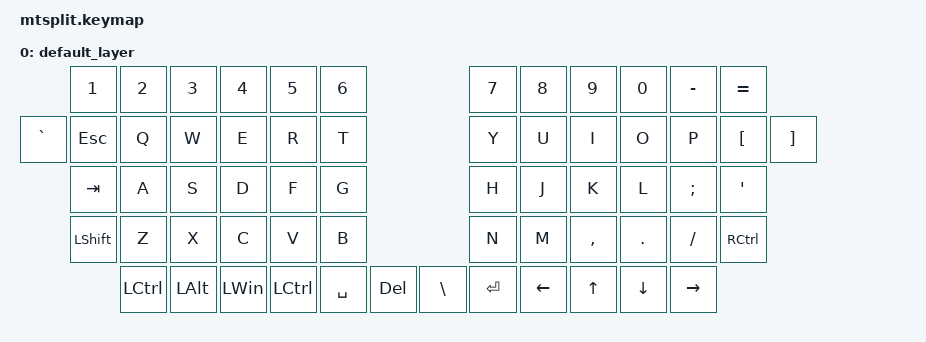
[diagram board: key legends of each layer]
#include <behaviors.dtsi>
#include <dt-bindings/zmk/keys.h>

/ {
    keymap {
        compatible = "zmk,keymap";

        default_layer {
            bindings = <
            &kp N1     &kp N2       &kp N3      &kp N4      &kp N5      &kp N6                              &kp N7      &kp N8      &kp N9      &kp N0    &kp MINUS   &kp EQUAL
&kp GRAVE   &kp ESC    &kp Q        &kp W       &kp E       &kp R       &kp T                               &kp Y       &kp U       &kp I       &kp O     &kp P       &kp LBKT    &kp RBKT
            &kp TAB    &kp A        &kp S       &kp D       &kp F       &kp G                               &kp H       &kp J       &kp K       &kp L     &kp SEMI    &kp SQT
            &kp LSHIFT &kp Z        &kp X       &kp C       &kp V       &kp B                               &kp N       &kp M       &kp COMMA   &kp DOT   &kp FSLH    &kp RCTRL
                       &kp LCTRL    &kp LALT    &kp LWIN    &kp LCTRL   &kp SPACE   &kp DEL     &kp BSLH    &kp ENTER   &kp LEFT    &kp UP      &kp DOWN  &kp RIGHT
            >;
        };
    };
};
